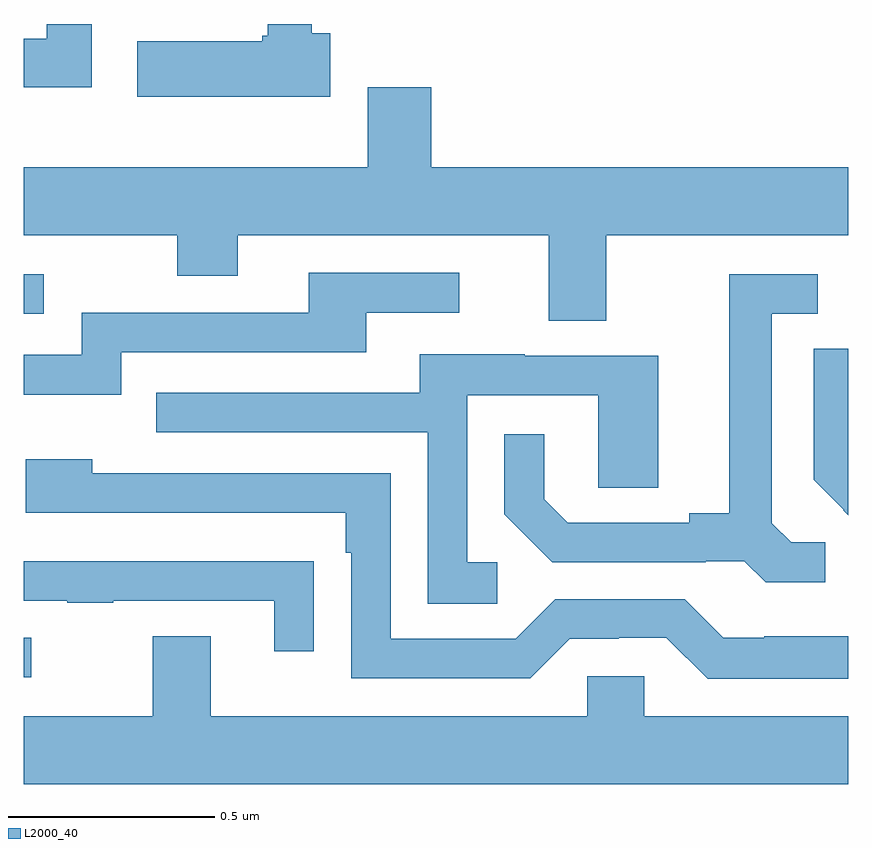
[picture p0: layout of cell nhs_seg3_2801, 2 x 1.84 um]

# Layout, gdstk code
import gdstk
lib = gdstk.Library(unit=1e-6, precision=1e-09)
def R(c, l, rs):  # rectangles x0, y0, x1, y1
    for r in rs: c.add(gdstk.rectangle(r[:2], r[2:], *l))
def P(c, l, *ps):  # polygons
    for p in ps: c.add(gdstk.Polygon(p, *l))
L2000_40 = (2000, 40)

nhs_seg3_2801 = lib.new_cell('nhs_seg3_2801')
R(nhs_seg3_2801, L2000_40, [(145,727.815,145.018,727.911), (145,728.697,145.048,728.793)])
P(nhs_seg3_2801, L2000_40, [(145.165,729.4),(145.055,729.4),(145.055,729.364),(145,729.364),(145,729.246),(145.165,729.246)],
  [(145.744,729.378),(145.699,729.378),(145.699,729.4),(145.592,729.4),(145.592,729.372),(145.579,729.372),(145.579,729.358),(145.275,729.358),(145.275,729.224),(145.744,729.224)],
  [(146.413,728.888),(147,728.888),(147,729.052),(145.988,729.052),(145.988,729.247),(145.835,729.247),(145.835,729.052),(145,729.052),(145,728.888),(145.372,728.888),(145.372,728.789),(145.519,728.789),(145.519,728.888),(146.273,728.888),(146.273,728.68),(146.413,728.68)],
  [(145.236,728.604),(145.831,728.604),(145.831,728.7),(146.056,728.7),(146.056,728.796),(145.691,728.796),(145.691,728.7),(145.14,728.7),(145.14,728.598),(145,728.598),(145,728.501),(145.236,728.501)],
  [(146.944,728.142),(146.862,728.142),(146.815,728.189),(146.815,728.697),(146.926,728.697),(146.926,728.793),(146.711,728.793),(146.711,728.213),(146.615,728.213),(146.615,728.19),(146.32,728.19),(146.263,728.247),(146.263,728.404),(146.166,728.404),(146.166,728.21),(146.282,728.094),(146.654,728.094),(146.654,728.097),(146.748,728.097),(146.8,728.045),(146.944,728.045)],
  [(147,728.612),(146.916,728.612),(146.916,728.294),(146.989,728.221),(146.988,728.22),(147,728.208)],
  [(146.149,728.094),(146.076,728.094),(146.076,728.499),(146.394,728.499),(146.394,728.275),(146.539,728.275),(146.539,728.595),(146.215,728.595),(146.215,728.599),(145.961,728.599),(145.961,728.505),(145.321,728.505),(145.321,728.409),(145.98,728.409),(145.98,727.993),(146.149,727.993)],
  [(147,727.915),(146.797,727.915),(146.797,727.911),(146.697,727.911),(146.604,728.004),(146.289,728.004),(146.193,727.908),(145.89,727.908),(145.89,728.31),(145.166,728.31),(145.166,728.344),(145.005,728.344),(145.005,728.214),(145.781,728.214),(145.781,728.117),(145.794,728.117),(145.794,727.812),(146.229,727.812),(146.325,727.908),(146.444,727.908),(146.444,727.911),(146.559,727.911),(146.659,727.811),(147,727.811)],
  [(145.703,728.096),(145.601,728.096),(145.601,728.097),(145,728.097),(145,728.001),(145.105,728.001),(145.105,727.996),(145.217,727.996),(145.217,728.001),(145.607,728.001),(145.607,727.878),(145.703,727.878)],
  [(147,727.72),(146.505,727.72),(146.505,727.818),(146.367,727.818),(146.367,727.72),(145.453,727.72),(145.453,727.915),(145.313,727.915),(145.313,727.72),(145,727.72),(145,727.556),(147,727.556)])

lib.write_gds('nhs_seg3_2801.gds')
